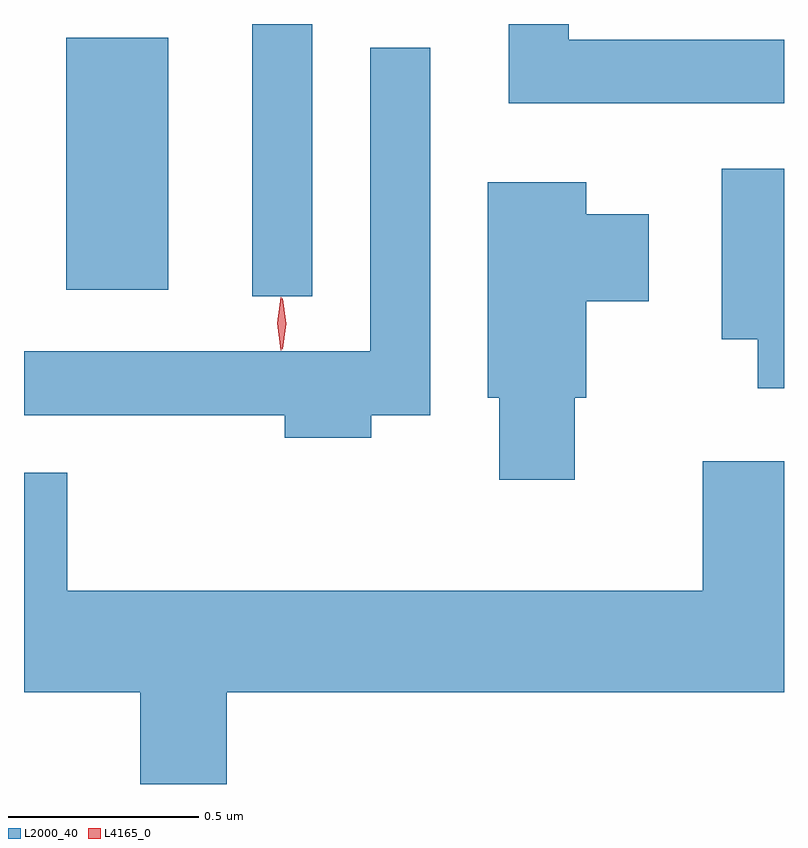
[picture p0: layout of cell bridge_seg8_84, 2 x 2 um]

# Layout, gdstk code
import gdstk
lib = gdstk.Library(unit=1e-6, precision=1e-09)
def R(c, l, rs):  # rectangles x0, y0, x1, y1
    for r in rs: c.add(gdstk.rectangle(r[:2], r[2:], *l))
def P(c, l, *ps):  # polygons
    for p in ps: c.add(gdstk.Polygon(p, *l))
L2000_40 = (2000, 40)
L4165_0 = (4165, 0)

bridge_seg8_84 = lib.new_cell('bridge_seg8_84')
R(bridge_seg8_84, L2000_40, [(1625.826,1815.258,1625.984,1815.975), (1625.336,1815.276,1625.604,1815.939)])
P(bridge_seg8_84, L2000_40, [(1627.225,1815.934),(1626.659,1815.934),(1626.659,1815.975),(1626.501,1815.975),(1626.501,1815.766),(1627.225,1815.766)],
  [(1626.139,1814.946),(1626.294,1814.946),(1626.294,1815.913),(1626.136,1815.913),(1626.136,1815.114),(1625.225,1815.114),(1625.225,1814.946),(1625.911,1814.946),(1625.911,1814.886),(1626.139,1814.886)],
  [(1627.225,1815.594),(1627.061,1815.594),(1627.061,1815.146),(1627.156,1815.146),(1627.156,1815.016),(1627.225,1815.016)],
  [(1626.674,1814.991),(1626.704,1814.991),(1626.704,1815.246),(1626.869,1815.246),(1626.869,1815.474),(1626.704,1815.474),(1626.704,1815.559),(1626.446,1815.559),(1626.446,1814.991),(1626.476,1814.991),(1626.476,1814.776),(1626.674,1814.776)],
  [(1625.759,1814.216),(1627.225,1814.216),(1627.225,1814.824),(1627.011,1814.824),(1627.011,1814.484),(1625.339,1814.484),(1625.339,1814.794),(1625.225,1814.794),(1625.225,1814.216),(1625.531,1814.216),(1625.531,1813.975),(1625.759,1813.975)])
P(bridge_seg8_84, L4165_0, [(1625.906,1815.119),(1625.905,1815.12),(1625.896,1815.186),(1625.905,1815.252),(1625.905,1815.253),(1625.906,1815.252),(1625.915,1815.186),(1625.906,1815.12)],
  [(1625.901,1815.117),(1625.892,1815.187),(1625.901,1815.256),(1625.902,1815.256),(1625.902,1815.256),(1625.912,1815.187),(1625.902,1815.117),(1625.902,1815.117)])

lib.write_gds('bridge_seg8_84.gds')
